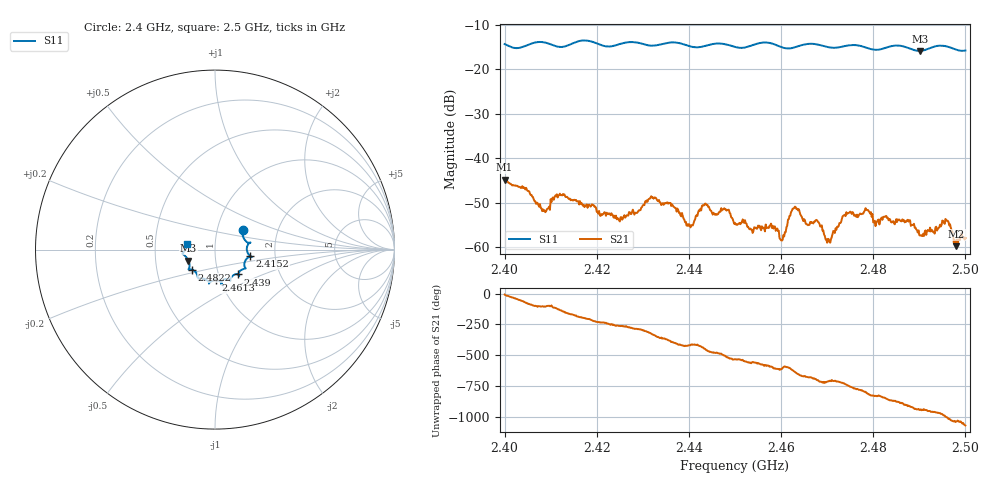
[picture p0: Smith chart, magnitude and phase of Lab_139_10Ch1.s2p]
# Hz S RI R 50
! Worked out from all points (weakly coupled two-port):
!   601 points, 2.4 GHz to 2.5 GHz, reference 50 ohm
!   highest |S21| = -44.83 dB at 2.4 GHz (marker M1); lowest = -59.8 dB at 2.498 GHz (marker M2)
!   lowest |S11| = -15.9 dB at 2.4902 GHz (marker M3), VSWR 1.38, Z = 36.9 - j4.62 ohm
!   |S11| at or under -10 dB: start of sweep to end of sweep
!   S12 and S22 are empty: the file has one direction only
!   S11 on the Smith chart (normalised r, x): 2.4 GHz: 1.33, +0.31; 2.4152 GHz: 1.48, -0.11; 2.439 GHz: 1.24, -0.36; 2.4613 GHz: 0.96, -0.34; 2.4822 GHz: 0.76, -0.17; 2.5 GHz: 0.73, +0.05
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2.4e9  0.1556 0.1107  0.0057 -0.000655  0 0  0 0
2.4085e9  0.196 0.0396  -0.000673 -0.00246  0 0  0 0
2.415167e9  0.1948 -0.0361  -0.0034 -0.000291  0 0  0 0
2.416667e9  0.2045 -0.0419  -0.00309 0.000641  0 0  0 0
2.425167e9  0.1659 -0.0973  -0.000269 0.00215  0 0  0 0
2.433333e9  0.1321 -0.1321  0.00325 0.000513  0 0  0 0
2.439e9  0.1283 -0.1385  0.000831 -0.00186  0 0  0 0
2.440667e9  0.1127 -0.1378  0.00108 -0.00141  0 0  0 0
2.4435e9  0.0879 -0.1594  6.59e-05 -0.00309  0 0  0 0
2.45e9  0.0687 -0.1639  -0.00187 -0.000184  0 0  0 0
2.460167e9  0.0225 -0.1742  -0.000378 0.00113  0 0  0 0
2.461333e9  0.00694 -0.1706  -0.000971 0.00146  0 0  0 0
2.463e9  -0.0169 -0.1751  0.000326 0.00284  0 0  0 0
2.466667e9  -0.0334 -0.1895  0.00154 0.00115  0 0  0 0
2.470333e9  -0.0459 -0.1697  0.00123 0.00015  0 0  0 0
2.474667e9  -0.0903 -0.1612  0.00214 -0.00116  0 0  0 0
2.482167e9  -0.1279 -0.1117  -0.00119 -0.00184  0 0  0 0
2.483333e9  -0.1393 -0.1102  -0.0016 -0.00122  0 0  0 0
2.490167e9  -0.148 -0.0611  -0.000995 0.000922  0 0  0 0
2.495833e9  -0.1794 -0.0188  0.000456 0.00197  0 0  0 0
2.498e9  -0.1653 8.53e-05  0.000784 0.000666  0 0  0 0
2.5e9  -0.1583 0.0338  0.00126 0.000195  0 0  0 0
